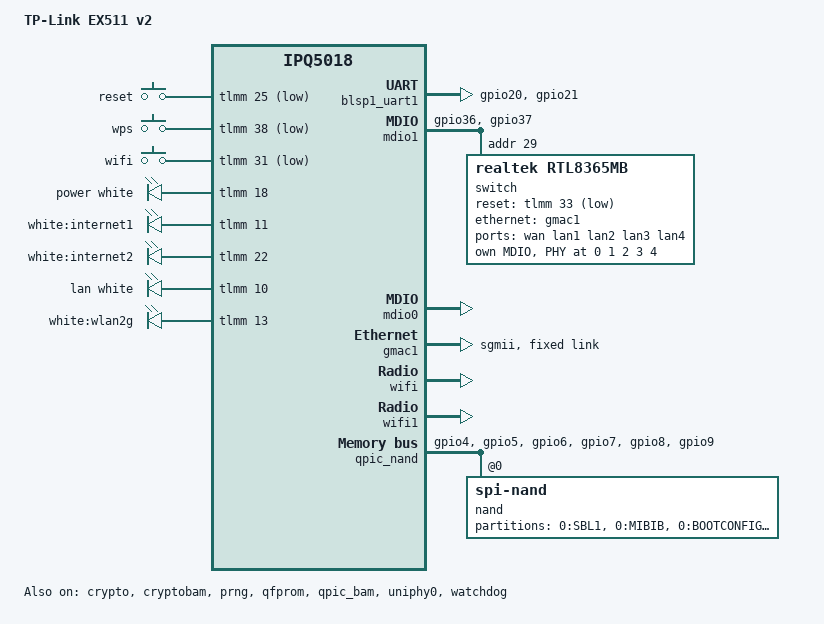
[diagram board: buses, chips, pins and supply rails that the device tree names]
// SPDX-License-Identifier: GPL-2.0-or-later OR MIT

/dts-v1/;

#include "ipq5018.dtsi"
#include "ipq5018-ess.dtsi"
#include "ipq5018-nss.dtsi"

/*
 * Include QCN6122 DTSI for the 5GHz radio protection domain definitions.
 * Physical chip is QCN6102 (confirmed by visual PCB inspection, marking:
 * "QUALCOM QCN 6102 001 JE437HXZ"). Stock firmware uses QCN6122 paths
 * throughout (firmware dirs, ini files) suggesting the firmware blob is
 * shared/compatible between QCN6102 and QCN6122. DTSI retained accordingly.
 */
#include "ipq5018-qcn6122.dtsi"

#include <dt-bindings/gpio/gpio.h>
#include <dt-bindings/input/input.h>
#include <dt-bindings/leds/common.h>

/*
 * TP-Link EX511 v2 — Board Topology
 *
 *  +-----------------------------+        +-----------------------------+
 *  |          IPQ5018            |        |          RTL8367S           |
 *  |                             |        |                             |
 *  |  +---------+                |        |  +-------+                 |
 *  |  |  2.4GHz |  ath11k        |        |  | PORT0 |----------  WAN  |
 *  |  |  WiFi   |  c000000.wifi  |        |  +-------+                 |
 *  |  +---------+                |        |  +-------+                 |
 *  |                             |        |  | PORT1 |----------  LAN1 |
 *  |  +------+   +------------+  |        |  +-------+                 |
 *  |  | gmac1|---| SGMII  1G  |--+--------+--| PORT6 |                 |
 *  |  | MAC  |   | 0x39d00000 |  |        |  | CPU   |  +-------+     |
 *  |  +------+   +------------+  |        |  +-------+  | PORT2 |---  LAN2
 *  |                             |        |             +-------+     |
 *  |  MDIO1: GPIO 36 (MDC)       |        |             +-------+     |
 *  |          GPIO 37 (MDIO)     |        |             | PORT3 |---  LAN3
 *  |                             |        |             +-------+     |
 *  +-----------------------------+        |             | PORT4 |---  LAN4
 *                                         |             +-------+     |
 *  +-----------------------------+        +-----------------------------+
 *  |          QCN6102            |
 *  |                             |
 *  |  +---------+                |
 *  |  |  5GHz   |  ath11k        |
 *  |  |  WiFi   |  b00a040.wifi  |
 *  |  +---------+                |
 *  |  AHB / PCIe                 |
 *  +-----------------------------+
 *
 *  NAND : 128 MiB SPI NAND via QPIC
 *  UART : GPIO 20 (RX) / GPIO 21 (TX) @ 115200n8
 *  USB  : USB 3.0, DWC3/QCOM controller
 */

/ {
	model = "TP-Link EX511 v2";
	compatible = "tplink,ex511-v2", "qcom,ipq5018";

	aliases {
		serial0 = &blsp1_uart1;
		label-mac-device = <&gmac1>;

		/* Factory MAC is applied in preinit; keep U-Boot MAC fixups disabled. */
	};

	chosen {
		stdout-path = "serial0:115200n8";
		/*
		 * U-Boot overwrites /chosen/bootargs from its own environment, so
		 * an explicit bootargs here is discarded -- verified on hardware,
		 * the cmdline arrived as bare "console=ttyMSM0,115200n8". Use
		 * bootargs-append, which OpenWrt appends to whatever U-Boot passes
		 * (920-device_tree_cmdline.patch), as every other ipq50xx board does.
		 *
		 * Retain the validated 512K atomic DMA pools on this 256 MiB board.
		 * Earlier MPD loaders required a GFP_KERNEL correction (then patch
		 * 0828) before reducing the old 2M setting; the current kernel uses
		 * the newer remoteproc/MDT arrangement. Do not reintroduce that old
		 * patch solely because its filename is absent.
		 */
		bootargs-append = " root=/dev/ubiblock0_1 swiotlb=1 coherent_pool=512K";
	};

	/*
	 * GPIO sources: reverse engineered from tp_gpio.ko .data section
	 * strings, extracted from stock NAND squashfs.
	 * Reset button GPIO 25 additionally confirmed by stock MP03.3 DTB:
	 * gengeric_gpio { reset { gpio = <0x19>; } } (0x19 = 25).
	 */
	keys {
		compatible = "gpio-keys";

		reset {
			label = "reset";
			gpios = <&tlmm 25 GPIO_ACTIVE_LOW>;
			linux,code = <KEY_RESTART>;
		};

		wps {
			label = "wps";
			gpios = <&tlmm 38 GPIO_ACTIVE_LOW>;
			linux,code = <KEY_WPS_BUTTON>;
		};

		/* WiFi button GPIO 31 -- from tp_gpio.ko, active polarity unconfirmed */
		wifi {
			label = "wifi";
			gpios = <&tlmm 31 GPIO_ACTIVE_LOW>;
			linux,code = <KEY_RFKILL>;
		};
	};

	leds {
		compatible = "gpio-leds";

		power {
			function = LED_FUNCTION_POWER;
			color = <LED_COLOR_ID_WHITE>;
			gpios = <&tlmm 18 GPIO_ACTIVE_HIGH>;
			default-state = "on";
		};

		/* Dual internet LEDs -- purpose/colour distinction TBD */
		internet1 {
			label = "white:internet1";
			gpios = <&tlmm 11 GPIO_ACTIVE_HIGH>;
		};

		internet2 {
			label = "white:internet2";
			gpios = <&tlmm 22 GPIO_ACTIVE_HIGH>;
		};

		lan {
			function = LED_FUNCTION_LAN;
			color = <LED_COLOR_ID_WHITE>;
			gpios = <&tlmm 10 GPIO_ACTIVE_HIGH>;
		};

		wlan2g {
			label = "white:wlan2g";
			gpios = <&tlmm 13 GPIO_ACTIVE_HIGH>;
			linux,default-trigger = "phy0tpt";
		};

		/*
		 * No wlan5g LED here. fl1ck3r's tp_gpio.ko reading assigned GPIO 39
		 * to it, but that value is unverified and GPIO 39 is currently
		 * unexplained: it is not the RTL8367S reset (that is GPIO 33, proven
		 * on hardware -- see the &mdio1 comment). The remaining LED GPIOs
		 * (10, 11, 13, 18, 22) come from the same unverified source.
		 */
	};

	reserved-memory {
		q6_region_qcn6122_1: q6-region-qcn6122-1@4d200000 {
			reg = <0x0 0x4d200000 0x0 0xd00000>;
			no-map;
		};

		m3_dump_qcn6122_1: m3-dump-qcn6122-1@4df00000 {
			reg = <0x0 0x4df00000 0x0 0x100000>;
			no-map;
		};
	};
};

/*
 * The NSS core's DDR region: firmware image plus its heap. ipq5018.dtsi
 * reserves 16 MiB, sized for the 512 MiB boards. Stock (AP-MP03.3 DTB,
 * MP_256 marker) reserves 8 MiB for the same MP firmware family, and
 * that is what this 256 MiB board can afford: the reservation comes off
 * MemTotal before Linux sees it. Both blobs (stock 2022-05, and
 * NSS.FW.12.2-156-MP.R) are ~770 KB images; the rest is heap, and the
 * driver reports whatever is here as heap_ddr_size to the firmware.
 * If the core stops booting ("nss core 0 booted successfully" missing)
 * or n2h pbuf allocation failures climb, this is the first thing to
 * revert.
 */
&nss_region {
	reg = <0x0 0x40000000 0x0 0x800000>;
};

&sleep_clk {
	clock-frequency = <32000>;
};

&xo_board_clk {
	clock-div = <4>;
	clock-mult = <1>;
};

&crypto { status = "okay"; };
&cryptobam { status = "okay"; };
&prng { status = "okay"; };
&qfprom { status = "okay"; };
&qpic_bam { status = "okay"; };

&tlmm {
	qpic_pins: qpic-pins {
		data {
			pins = "gpio4", "gpio5", "gpio6", "gpio7";
			function = "qspi_data";
			drive-strength = <8>;
			bias-pull-up;
		};
		cs {
			pins = "gpio8";
			function = "qspi_cs";
			drive-strength = <8>;
			bias-pull-up;
		};
		clk {
			pins = "gpio9";
			function = "qspi_clk";
			drive-strength = <8>;
			bias-pull-up;
		};
	};

	mdio1_pins: mdio-state {
		mdc-pins {
			pins = "gpio36";
			function = "mdc";
			drive-strength = <8>;
			bias-pull-up;
		};

		mdio-pins {
			pins = "gpio37";
			function = "mdio";
			drive-strength = <8>;
			bias-pull-up;
		};
	};

	/*
	 * GPIO 20/21 are in the blsp0_uart0 pinmux group per
	 * pinctrl-ipq5018.c, despite the serial node being blsp1_uart1 --
	 * Qualcomm's group naming does not track the node labels. The
	 * earlier "blsp_uart" was rejected: "invalid function blsp_uart in
	 * map table".
	 */
	serial_0_pins: serial0-pins {
		rx {
			pins = "gpio20";
			function = "blsp0_uart0";
			bias-pull-up;
		};
		tx {
			pins = "gpio21";
			function = "blsp0_uart0";
			bias-pull-up;
		};
	};
};

&blsp1_uart1 {
	status = "okay";
	pinctrl-0 = <&serial_0_pins>;
	pinctrl-names = "default";
	clocks = <&gcc GCC_BLSP1_UART1_APPS_CLK>,
	         <&gcc GCC_BLSP1_AHB_CLK>;
	clock-names = "core", "iface";
};

&uniphy0 {
	status = "okay";

	assigned-clocks = <&uniphy0 UNIPHY_CLK_REF>;
	assigned-clock-rates = <UNIPHY_REFCLK_25MHZ>;
};

/*
 * mdio0 must be enabled even though nothing on this board hangs off it.
 * Its second reg is eth_ldo_rdy: mdio-ipq4019.c sets BIT(0) there to tell
 * the CMN PLL the ethernet LDO is ready. mdio1 has no such register, so
 * with mdio0 disabled every MDIO transaction times out (-ETIMEDOUT on the
 * whole bus, observed on hardware). Every in-tree ipq5018 board enables it.
 */

/*
 * RTL8367S-VB on mdio1, MDIO address 29 (0x1d).
 *
 * Address, transport and reset line were all recovered from the vendor
 * driver and then confirmed by reading the live chip over mdio-tools:
 *
 *   BUS=90000.mdio-1 ADDR=29 CHIP_ID=0x6642 CHIP_VER=0x0010
 *
 * The RTL8367S driver is built into qca-ssdk.ko (there is no separate
 * rtl8367s.ko). Its rtl8367c_smi_read/write are a register-for-register
 * match for Linux's realtek-mdio.c -- unlock CTRL0(31)=0x000e, address
 * ADDRESS(23)=reg, op CTRL1(21)=read/write, data via 24/25 -- and they
 * hardcode PHY address 29 in the argument qca_mdio_write() bounds-checks
 * at <= 31. Every other rtl8365mb board in tree also uses reg = <29>.
 *
 * Reset is GPIO 33, not 39. ssdk_rtl8367s_reset_gpio_get() looks for a
 * node named "rtl8367s_gpio" that exists in none of the 20 stock DTBs,
 * returns 0, and rtl8367s_hw_init() falls through to a hardcoded 33 which
 * it drives low 200 ms / high 200 ms -- so "reset by gpio33" in the stock
 * log is what actually ran. The stock DTB says the same independently:
 * mdio@90000 { phy-reset-gpio = <&tlmm 33 0>; }. Verified on hardware:
 * writing a marker to 0x13c2 and pulsing GPIO 33 clears it.
 *
 * GPIO 39 came from ess-switch1@1 { reset_gpio = <0x27>; }, which is
 * byte-identical across sdtb_02/06/18 -- three unrelated QCA reference
 * boards, alongside a stale compatible = "qcom,ess-switch-qca83xx" on a
 * board with no QCA8337. It is reference boilerplate, not EX511 data.
 *
 * Note an empty `mdio 90000.mdio-1` scan is expected even when the switch
 * is healthy: it does not answer standard PHY-ID reads, and the per-port
 * PHYs sit behind the switch's own nested mdio bus, not on the SoC bus.
 */
&mdio1 {
	status = "okay";
	pinctrl-0 = <&mdio1_pins>;
	pinctrl-names = "default";

	switch@1d {
		compatible = "realtek,rtl8365mb";
		reg = <29>;

		reset-gpios = <&tlmm 33 GPIO_ACTIVE_LOW>;

		/*
		 * The NSS firmware parses 802.1Q natively but cannot parse a DSA
		 * tag sitting where the ethertype belongs, and DSA user ports
		 * never get an NSS interface number -- so on IPQ5018 DSA tagging
		 * and ECM acceleration are mutually exclusive. This makes the
		 * driver report DSA_TAG_PROTO_NONE and clear CPU_CTRL_EN, so the
		 * conduit carries plain 802.3 while rtl8365mb stays bound and
		 * keeps phylink, the ext-interface SerDes and the front PHYs.
		 *
		 * Staying bound is the point: the CPU port's SGMII link is
		 * phylink-managed, and unbinding the driver takes it down --
		 * which is what stalled the unbind-and-re-arm route here.
		 */
		realtek,headerless-cpu-port;

		mdio {
			#address-cells = <1>;
			#size-cells = <0>;

			ex511_phy0: ethernet-phy@0 {
				reg = <0>;
			};

			ex511_phy1: ethernet-phy@1 {
				reg = <1>;
			};

			ex511_phy2: ethernet-phy@2 {
				reg = <2>;
			};

			ex511_phy3: ethernet-phy@3 {
				reg = <3>;
			};

			ex511_phy4: ethernet-phy@4 {
				reg = <4>;
			};
		};

		ports {
			#address-cells = <1>;
			#size-cells = <0>;

			/*
			 * Socket mapping verified on hardware: one cable moved
			 * from RJ45 to RJ45, with every port brought up first,
			 * lit the labels below in declared order and all five
			 * negotiated 1 Gbps -- which also confirms the nested
			 * mdio node and the phy-handles drive all five PHYs.
			 *
			 * Repeating it: netifd only brings up wan at boot and
			 * carrier reads EINVAL on an admin-down netdev, so
			 * reading carrier for every netdev at once prints
			 * blanks that look like "no link" but really mean
			 * "interface down". Bring all five up first.
			 */
			port@0 {
				reg = <0>;
				label = "wan";
				phy-handle = <&ex511_phy0>;
			};

			port@1 {
				reg = <1>;
				label = "lan1";
				phy-handle = <&ex511_phy1>;
			};

			port@2 {
				reg = <2>;
				label = "lan2";
				phy-handle = <&ex511_phy2>;
			};

			port@3 {
				reg = <3>;
				label = "lan3";
				phy-handle = <&ex511_phy3>;
			};

			port@4 {
				reg = <4>;
				label = "lan4";
				phy-handle = <&ex511_phy4>;
			};

			port@6 {
				reg = <6>;
				ethernet = <&gmac1>;
				phy-mode = "sgmii";

				fixed-link {
					speed = <1000>;
					full-duplex;
				};
			};
		};
	};
};

&mdio0 {
	status = "okay";
};

/*
 * gmac0 -> IPQ5018 internal GE PHY. Unused on this board: all five RJ45
 * sockets hang off the RTL8367S.
 */
&gmac0 {
	status = "disabled";
};

/*
 * gmac1 @ 0x39d00000 -> SGMII to the RTL8367S CPU port (port 6).
 * Base address confirmed against the stock DTB's gmac2_cfg node.
 *
 * Driven by the upstream stmmac IPQ5018 DWMAC driver together with the
 * qca-uniphy PCS. The out-of-tree "qcom,nss-dp" binding this board was
 * originally written against no longer exists in the tree.
 *
 * SGMII/1G on both ends, matching every in-tree ipq5018 board with an
 * external switch (pz-l8, gl-b3000).
 *
 * HSGMII (2500base-x/2500 on both ends) was tried first, since U-Boot
 * prints "Set RTL8367S SGMII 2.5Gbps" and stock selects it (echo 2 >
 * /proc/rtl8367s/mii_type). Both ends reported "Link is Up - 2.5Gbps/Full",
 * but NOT ONE FRAME crossed the CPU link in either direction: with a cable
 * in lan1, the switch's own port-1 MIB counters climbed with ambient LAN
 * broadcast while eth0 rx_packets stayed at exactly 0, and eth0 tx_packets
 * incremented while port 1 egressed nothing. A fixed-link "up" is asserted
 * by configuration, not measured, so it proves nothing on its own.
 *
 * Suspected cause: the SerDes tuning parameters in the rtl8365mb HSGMII
 * support are lifted from the vendor driver for RTL8367S (0x6367/0x00A0)
 * parts and gated on a chip option register; this board is an RTL8367S-VB
 * (0x6642/0x0010), which that code has never seen. 1 Gbps is ample for an
 * AP -- revisit 2.5G as an optimisation, not a bring-up setting.
 */
&gmac1 {
	status = "okay";

	phy-mode = "sgmii";


	fixed-link {
		speed = <1000>;
		full-duplex;
	};
};

/*
 * 2.4GHz radio: IPQ5018 integrated (AHB), ath11k path c000000.wifi.
 *
 * Board data: ath11k-bdencoder over stock /etc/board_data_files/2g/
 * bdwlan_BR20.b2g. Get the source file right -- this was wrong once and
 * cost a working receiver. Stock does NOT use /etc/IPQ5018/WIFI_FW/
 * bdwlan.bin; that tree is the Qualcomm QSDK reference data. The stock DTB
 * (AP-MP03.3) sets qcom,board_id=<0x24> here, and /etc/IPQ5018/WIFI_FW/
 * bdwlan.b24 is a symlink to /tmp/board_data_files/2g/bdwlan.b2g, which
 * /lib/wifi_backup/copy_bdf_from_fs fills at boot from
 *
 *     /etc/board_data_files/2g/bdwlan_${country}${fem_mask_2g}.b2g
 *
 * i.e. keyed by region *and* front-end module. This unit reads
 * "Country=BR;FEM_MASK_2G=20;FEM_MASK_5G=10;" (NAND offset 0x721030), so
 * BR20. Shipping the QSDK bdwlan.bin instead put wrong PA/LNA gain tables
 * on the radio: it beaconed normally but RX was dead -- 11 ms of receive
 * time in 2.5 h, and a full-band scan returning one BSS at -93 dBm.
 * bdwlan.b2g is byte-identical to bdwlan_BR20.b2g, so this blob is the
 * vendor default and is not BR-specific.
 *
 * Cal data: ART partition all 0xFF on this unit (ISP-erased).
 * Preserve the tested baseline's integrated-radio zero-cal fallback. The
 * corresponding factory UBIFS calibration record has not been validated.
 * The external radio has a separate, validated factory-record path below.
 *
 * fw-memory-mode=2, as stock uses, NOT the 1 the other in-tree ipq5018
 * boards use -- see the note on &wifi1 below. Those boards have more DRAM
 * than this one.
 */
&wifi {
	status = "okay";
	qcom,rproc = <&q6v5_wcss>;
	qcom,ath11k-calibration-variant = "TP-Link-EX511-v2";
	qcom,ath11k-fw-memory-mode = <2>;

	/* Userspace supplies macaddr_base from the validated factory record. */
};

/*
 * The QCN6102 sits on user PD 2 here, and the Q6 firmware has to be told so:
 * without boot-args it expects the radio on UPD ID 3 instead, wlan1 never
 * finishes initialising, and ~40 s later the user-PD watchdog takes the root
 * PD down with it:
 *
 *   qcom-q6-mpd cd00000.remoteproc: fatal error received: err_smem_ver.2.1:
 *   dog_virtual_user.c:242 USER-PD DOG detects stalled initialization
 *   Thread name : TIMER_CLIENT_2  Process ID : 0x00000002  Process name :wlan1
 *
 * That is the "~59 s firmware crash" this board was held back over, and it was
 * never target-wide: yuncore,ax830 puts its radio on pd3, the firmware's own
 * default, so it never needed the property.
 *
 * The values are byte for byte what the stock DTB carries
 * (boot-args = <0x01 0x04 0x02 0x0f 0x00 0x00>) and what linksys,mx2000 and
 * cmcc,mr3000d-ci -- the two in-tree boards with this same QCN6102 on pd2 --
 * already use.
 */
&q6v5_wcss {
	boot-args = <
			/*       type:	*/	0x1	/* PCIE0	*/
			/*     length:	*/	4
			/*     UPD ID:	*/	2
			/* reset GPIO:	*/	15
			/*   reserved:	*/	0 0>;
};

/*
 * 5GHz radio: physical chip QCN6102 (confirmed visual: "QUALCOM QCN 6102
 * 001 JE437HXZ"). Stock firmware treats it as a QCN6122 throughout.
 * AHB path b00a040.wifi, protection domain q6_wcss_pd2. Settings below are
 * the ones the other in-tree QCN6122 boards use.
 *
 * External board data must match the device factory country/FEM record.
 * Import a matching BDF privately; the provisioning helper validates its
 * marker and EEPROM checksums before exposing the RAM copy to ath11k.
 *
 * External calibration comes from the read-only misc_ro UBIFS file
 * 0x043A0000, after country/FEM, EEPROM header and checksum validation.
 * It is not replaced by the baseline's zero-filled external dummy.
 *
 * Both radios run at fw-memory-mode 2, which is what stock uses and what this
 * board needs. Mode 1 is fine on the other in-tree ipq5018 boards, which carry
 * more DRAM; here, with 256 MiB and both radios up, ath11k's firmware DMA
 * allocations left barely 16 MiB free and the board died writing a 12 MiB file
 * to tmpfs:
 *
 *   Out of memory: Killed process 1589 (dropbear)
 *   Out of memory and no killable processes...
 *   Kernel panic - not syncing: System is deadlocked on memory
 *
 * With one radio there was 62 MiB free, so the second costs ~46 MiB at mode 1.
 * Mode 2 is the knob stock reaches for on exactly this hardware.
 *
 * Userspace derives this radio's MAC allocation base from the validated
 * factory MAC record plus 2; the Ethernet WAN allocation uses base plus 1.
 */
&wifi1 {
	status = "okay";

	qcom,rproc = <&q6v5_wcss>;
	qcom,ath11k-calibration-variant = "TP-Link-EX511-v2";
	qcom,ath11k-fw-memory-mode = <2>;

	memory-region = <&q6_region_qcn6122_1>, <&q6_region_ipq5018>, <&m3_dump_qcn6122_1>;
	memory-region-names = "q6-region", "m3-region", "m3-dump";

};

&blsp1_spi1 {
	status = "disabled";
};

&watchdog {
	status = "okay";
};

&qpic_nand {
	status = "okay";
	pinctrl-0 = <&qpic_pins>;
	pinctrl-names = "default";

	nand@0 {
		compatible = "spi-nand";
		reg = <0>;
		nand-ecc-engine = <&qpic_nand>;
		nand-bus-width = <8>;

		ex511_partitions: partitions {
			compatible = "fixed-partitions";
			#address-cells = <1>;
			#size-cells = <1>;

			partition@0 {
				label = "0:SBL1";
				reg = <0x0 0x80000>;
				read-only;
			};

			partition@80000 {
				label = "0:MIBIB";
				reg = <0x80000 0x80000>;
				read-only;
			};

			/*
			 * Retain the legacy base layout for comparison. The protected
			 * diagnostic and physical-slot-1 profiles override these flags.
			 * The EX511 sysupgrade handler no longer writes BOOTCONFIG;
			 * bootloader slot selection is handled separately through the
			 * supported stock-SSH workflow.
			 */
			partition@100000 {
				label = "0:BOOTCONFIG";
				reg = <0x100000 0x40000>;
			};

			partition@140000 {
				label = "0:BOOTCONFIG1";
				reg = <0x140000 0x40000>;
			};

			partition@180000 {
				label = "0:QSEE";
				reg = <0x180000 0x100000>;
				read-only;
			};

			partition@280000 {
				label = "0:DEVCFG";
				reg = <0x280000 0x40000>;
				read-only;
			};

			partition@2c0000 {
				label = "0:CDT";
				reg = <0x2c0000 0x40000>;
				read-only;
			};

			partition@300000 {
				label = "0:APPSBLENV";
				reg = <0x300000 0x80000>;
			};

			partition@380000 {
				label = "0:APPSBL";
				reg = <0x380000 0x140000>;
				read-only;
			};

			partition@4c0000 {
				/*
				 * ART partition: all 0xFF on this unit.
				 * Unit is ISP-branded; ART was erased before
				 * delivery. Stock firmware falls back to
				 * bdwlan.bin in squashfs for board data.
				 */
				label = "0:ART";
				reg = <0x4c0000 0x100000>;
				read-only;
			};

			partition@5c0000 {
				label = "0:TRAINING";
				reg = <0x5c0000 0x80000>;
				read-only;
			};

			partition@640000 {
				label = "misc_data_ro";
				reg = <0x640000 0x600000>;
				read-only;

				/* Read records by filename through read-only UBIFS, not raw offsets. */
			};

			partition@c40000 {
				label = "misc_data_rw";
				reg = <0xc40000 0x600000>;
			};

			partition@1240000 {
				label = "rootfs";
				reg = <0x1240000 0x2460000>;
			};

			partition@36a0000 {
				label = "rootfs_1";
				reg = <0x36a0000 0x2460000>;
			};
			partition@5b00000 {
				label = "misc_data_rwbak";
				reg = <0x5b00000 0x600000>;
				read-only;
			};

			partition@6100000 {
				label = "misc_data_isp";
				reg = <0x6100000 0x600000>;
				read-only;
			};
		};
	};
};
